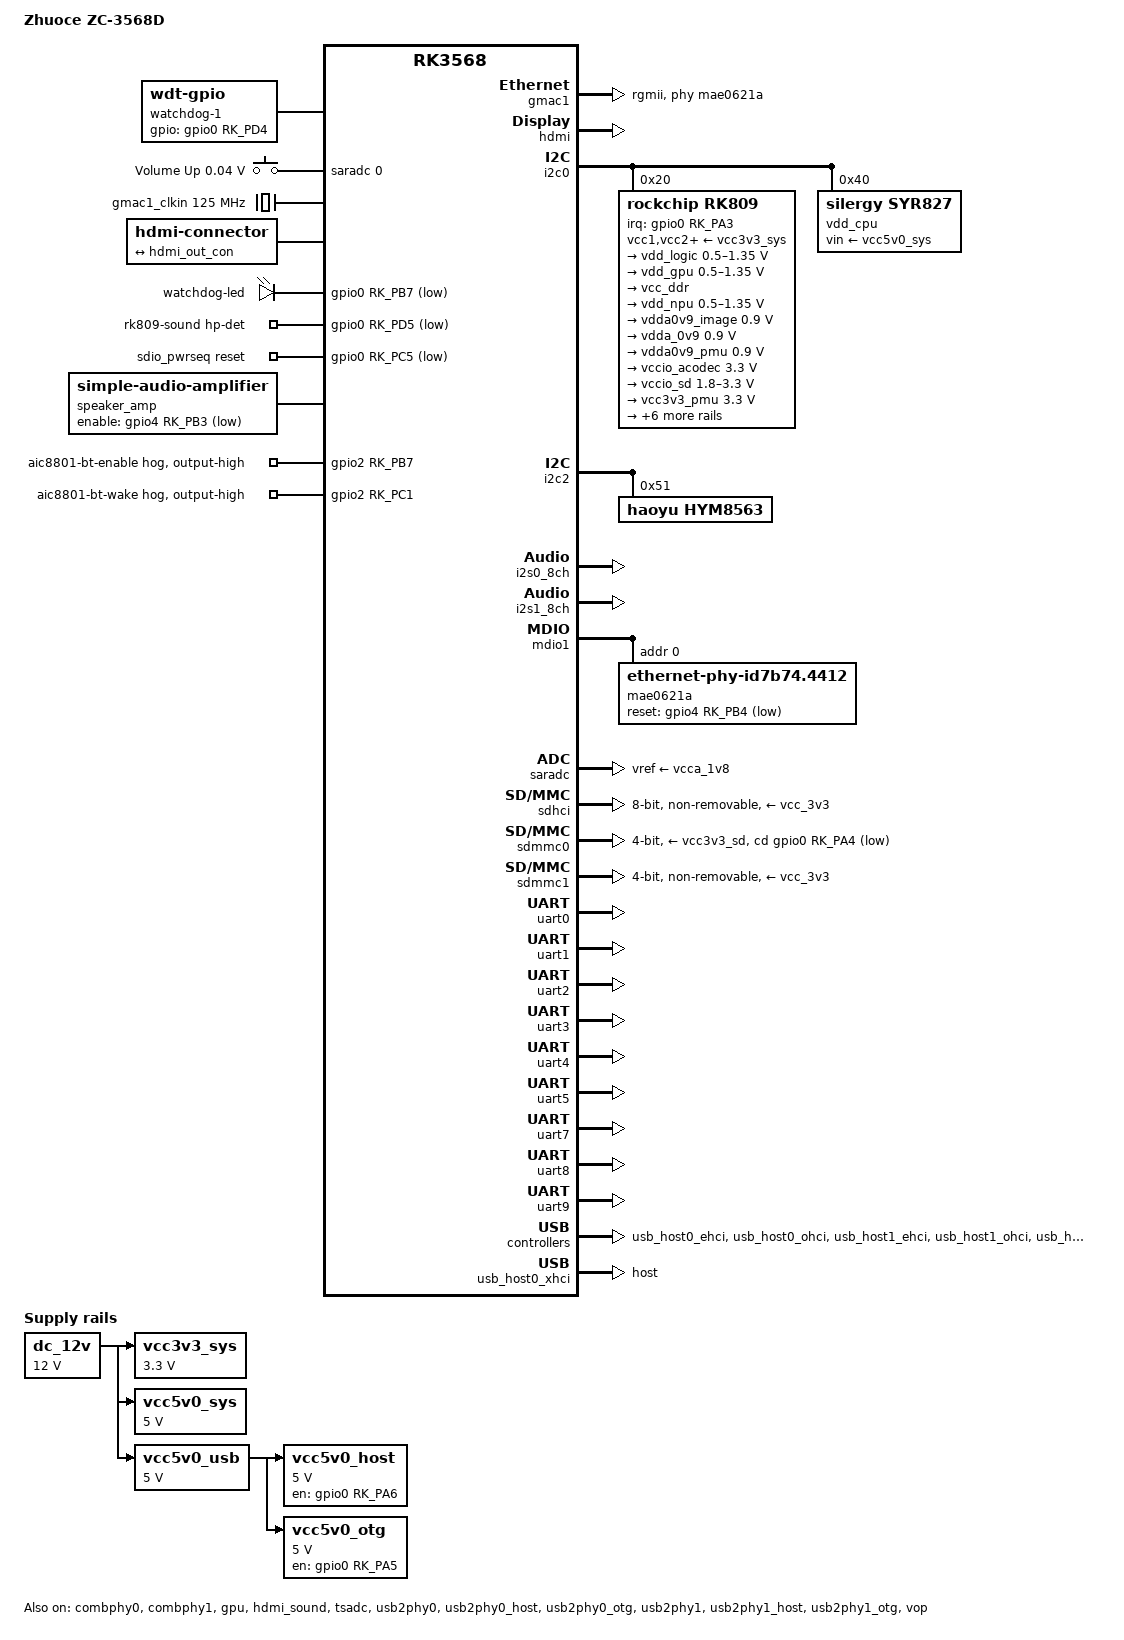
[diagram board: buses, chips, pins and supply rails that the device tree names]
// SPDX-License-Identifier: (GPL-2.0+ OR MIT)
/*
 * Copyright (c) 2022 Fuzhou Rockchip Electronics Co., Ltd.
 * Copyright (c) 2026 retro98boy <retro98boy@qq.com>
 */

/dts-v1/;

#include <dt-bindings/gpio/gpio.h>
#include <dt-bindings/input/input.h>
#include <dt-bindings/pinctrl/rockchip.h>
#include <dt-bindings/soc/rockchip,vop2.h>
#include "rk3568.dtsi"

#define WATCHDOG_DRIVER

/ {
	model = "Zhuoce ZC-3568D";
	compatible = "zhuoce,zc-3568d", "rockchip,rk3568";

#ifdef WATCHDOG_DRIVER
	/*
	 * STC8H1K08 uses GPIO0_D3 for enable and GPIO0_D4 for heartbeat edges.
	 * Missing edges with enable high reset the board after about 20 seconds.
	 * Enable low still allowed resets after about ten minutes in repeated tests.
	 * The kernel feeds continuously until a watchdog client takes over.
	 */
	watchdog-1 {
		compatible = "linux,wdt-gpio";
		gpios = <&gpio0 RK_PD4 GPIO_ACTIVE_HIGH>;
		hw_algo = "toggle";
		/* A conservative margin keeps heartbeat edges 500 ms apart. */
		hw_margin_ms = <1000>;
		always-running;
	};
#endif

	adc-keys {
		compatible = "adc-keys";
		io-channels = <&saradc 0>;
		io-channel-names = "buttons";
		keyup-threshold-microvolt = <1800000>;
		poll-interval = <50>;

		button-volume-up {
			label = "Volume Up";
			linux,code = <KEY_VOLUMEUP>;
			press-threshold-microvolt = <40000>;
		};
	};

	aliases {
		ethernet0 = &gmac1;
		mmc0 = &sdhci;
		mmc1 = &sdmmc0;
		mmc2 = &sdmmc1;
		rtc0 = &hym8563;
		rtc1 = &rk809;
	};

	chosen {
		stdout-path = "serial2:1500000n8";
	};

	gmac1_clkin: clock-125m {
		compatible = "fixed-clock";
		#clock-cells = <0>;
		clock-frequency = <125000000>;
		clock-output-names = "gmac1_clkin";
	};

	hdmi-con {
		compatible = "hdmi-connector";
		type = "a";

		port {
			hdmi_con_in: endpoint {
				remote-endpoint = <&hdmi_out_con>;
			};
		};
	};

	leds {
		compatible = "gpio-leds";

		watchdog-led {
			gpios = <&gpio0 RK_PB7 GPIO_ACTIVE_LOW>;
			linux,default-trigger = "heartbeat";
		};
	};

	rk809-sound {
		compatible = "simple-audio-card";
		pinctrl-names = "default";
		pinctrl-0 = <&hp_det>;
		simple-audio-card,name = "ZC-3568D";
		simple-audio-card,format = "i2s";
		simple-audio-card,mclk-fs = <256>;
		simple-audio-card,hp-det-gpios = <&gpio0 RK_PD5 GPIO_ACTIVE_LOW>;
		simple-audio-card,aux-devs = <&speaker_amp>;
		simple-audio-card,pin-switches = "Speaker";
		simple-audio-card,widgets =
			"Headphone", "Headphones",
			"Speaker", "Speaker",
			"Microphone", "Microphone";
		/* The headphone jack and external PA share the RK809 headphone outputs. */
		simple-audio-card,routing =
			"Headphones", "HPOL",
			"Headphones", "HPOR",
			"Speaker Amp INL", "HPOL",
			"Speaker Amp INR", "HPOR",
			"Speaker", "Speaker Amp OUTL",
			"Speaker", "Speaker Amp OUTR",
			"MICL", "Microphone",
			"MICR", "Microphone";

		simple-audio-card,cpu {
			sound-dai = <&i2s1_8ch>;
		};

		simple-audio-card,codec {
			sound-dai = <&rk809>;
		};
	};

	sdio_pwrseq: sdio-pwrseq {
		compatible = "mmc-pwrseq-simple";
		clocks = <&rk809 1>;
		clock-names = "ext_clock";
		pinctrl-names = "default";
		pinctrl-0 = <&wifi_enable_h>;

		reset-gpios = <&gpio0 RK_PC5 GPIO_ACTIVE_LOW>;
		post-power-on-delay-ms = <200>;
	};

	speaker_amp: speaker-amplifier {
		compatible = "simple-audio-amplifier";
		enable-gpios = <&gpio4 RK_PB3 GPIO_ACTIVE_LOW>;
		sound-name-prefix = "Speaker Amp";
	};

	dc_12v: regulator-dc-12v {
		compatible = "regulator-fixed";
		regulator-name = "dc_12v";
		regulator-always-on;
		regulator-boot-on;
		regulator-min-microvolt = <12000000>;
		regulator-max-microvolt = <12000000>;
	};

	vcc3v3_sys: regulator-vcc3v3-sys {
		compatible = "regulator-fixed";
		regulator-name = "vcc3v3_sys";
		regulator-always-on;
		regulator-boot-on;
		regulator-min-microvolt = <3300000>;
		regulator-max-microvolt = <3300000>;
		vin-supply = <&dc_12v>;
	};

	vcc5v0_sys: regulator-vcc5v0-sys {
		compatible = "regulator-fixed";
		regulator-name = "vcc5v0_sys";
		regulator-always-on;
		regulator-boot-on;
		regulator-min-microvolt = <5000000>;
		regulator-max-microvolt = <5000000>;
		vin-supply = <&dc_12v>;
	};

	vcc5v0_usb: regulator-vcc5v0-usb {
		compatible = "regulator-fixed";
		regulator-name = "vcc5v0_usb";
		regulator-always-on;
		regulator-boot-on;
		regulator-min-microvolt = <5000000>;
		regulator-max-microvolt = <5000000>;
		vin-supply = <&dc_12v>;
	};

	vcc5v0_host: regulator-vcc5v0-host {
		compatible = "regulator-fixed";
		regulator-name = "vcc5v0_host";
		regulator-boot-on;
		regulator-always-on;
		enable-active-high;
		gpio = <&gpio0 RK_PA6 GPIO_ACTIVE_HIGH>;
		pinctrl-names = "default";
		pinctrl-0 = <&vcc5v0_host_en>;
		regulator-min-microvolt = <5000000>;
		regulator-max-microvolt = <5000000>;
		vin-supply = <&vcc5v0_usb>;
	};

	vcc5v0_otg: regulator-vcc5v0-otg {
		compatible = "regulator-fixed";
		regulator-name = "vcc5v0_otg";
		enable-active-high;
		gpio = <&gpio0 RK_PA5 GPIO_ACTIVE_HIGH>;
		pinctrl-names = "default";
		pinctrl-0 = <&vcc5v0_otg_en>;
		regulator-min-microvolt = <5000000>;
		regulator-max-microvolt = <5000000>;
		vin-supply = <&vcc5v0_usb>;
	};
};

&combphy0 {
	/* Used for USB3 */
	phy-supply = <&vcc5v0_otg>;
	status = "okay";
};

&combphy1 {
	/* Used for USB3 */
	phy-supply = <&vcc5v0_host>;
	status = "okay";
};

&cpu0 {
	cpu-supply = <&vdd_cpu>;
};

&cpu1 {
	cpu-supply = <&vdd_cpu>;
};

&cpu2 {
	cpu-supply = <&vdd_cpu>;
};

&cpu3 {
	cpu-supply = <&vdd_cpu>;
};

&gmac1 {
	phy-mode = "rgmii";
	clock_in_out = "input";
	assigned-clocks = <&cru SCLK_GMAC1_RX_TX>, <&cru SCLK_GMAC1>;
	assigned-clock-parents = <&cru SCLK_GMAC1_RGMII_SPEED>, <&gmac1_clkin>;
	pinctrl-names = "default";
	pinctrl-0 = <&gmac1m1_miim
		&gmac1m1_tx_bus2
		&gmac1m1_rx_bus2
		&gmac1m1_rgmii_clk
		&gmac1m1_rgmii_bus
		&gmac1m1_clkinout>;
	tx_delay = <0x46>;
	rx_delay = <0x2f>;
	phy-handle = <&mae0621a>;
	status = "okay";
};

&gpio2 {
	bluetooth-enable {
		gpio-hog;
		gpios = <RK_PB7 GPIO_ACTIVE_HIGH>;
		output-high;
		line-name = "aic8801-bt-enable";
	};

	bluetooth-wake {
		gpio-hog;
		gpios = <RK_PC1 GPIO_ACTIVE_HIGH>;
		output-high;
		line-name = "aic8801-bt-wake";
	};
};

&gpu {
	mali-supply = <&vdd_gpu>;
	status = "okay";
};

&hdmi {
	avdd-0v9-supply = <&vdda0v9_image>;
	avdd-1v8-supply = <&vcca1v8_image>;
	status = "okay";
};

&hdmi_in {
	hdmi_in_vp0: endpoint {
		remote-endpoint = <&vp0_out_hdmi>;
	};
};

&hdmi_out {
	hdmi_out_con: endpoint {
		remote-endpoint = <&hdmi_con_in>;
	};
};

&hdmi_sound {
	status = "okay";
};

&i2c0 {
	status = "okay";

	rk809: pmic@20 {
		compatible = "rockchip,rk809";
		reg = <0x20>;
		interrupt-parent = <&gpio0>;
		interrupts = <RK_PA3 IRQ_TYPE_LEVEL_LOW>;
		assigned-clocks = <&cru I2S1_MCLKOUT_TX>;
		assigned-clock-parents = <&cru CLK_I2S1_8CH_TX>;
		#clock-cells = <1>;
		clock-names = "mclk";
		clocks = <&cru I2S1_MCLKOUT_TX>;
		pinctrl-names = "default";
		pinctrl-0 = <&pmic_int>, <&i2s1m0_mclk>;
		system-power-controller;
		#sound-dai-cells = <0>;
		vcc1-supply = <&vcc3v3_sys>;
		vcc2-supply = <&vcc3v3_sys>;
		vcc3-supply = <&vcc3v3_sys>;
		vcc4-supply = <&vcc3v3_sys>;
		vcc5-supply = <&vcc3v3_sys>;
		vcc6-supply = <&vcc3v3_sys>;
		vcc7-supply = <&vcc3v3_sys>;
		vcc8-supply = <&vcc3v3_sys>;
		vcc9-supply = <&vcc3v3_sys>;
		wakeup-source;

		regulators {
			vdd_logic: DCDC_REG1 {
				regulator-always-on;
				regulator-boot-on;
				regulator-min-microvolt = <500000>;
				regulator-max-microvolt = <1350000>;
				regulator-ramp-delay = <6001>;
				regulator-initial-mode = <0x2>;
				regulator-name = "vdd_logic";
				regulator-state-mem {
					regulator-off-in-suspend;
				};
			};

			vdd_gpu: DCDC_REG2 {
				regulator-always-on;
				regulator-boot-on;
				regulator-min-microvolt = <500000>;
				regulator-max-microvolt = <1350000>;
				regulator-ramp-delay = <6001>;
				regulator-initial-mode = <0x2>;
				regulator-name = "vdd_gpu";
				regulator-state-mem {
					regulator-off-in-suspend;
				};
			};

			vcc_ddr: DCDC_REG3 {
				regulator-always-on;
				regulator-boot-on;
				regulator-initial-mode = <0x2>;
				regulator-name = "vcc_ddr";
				regulator-state-mem {
					regulator-on-in-suspend;
				};
			};

			vdd_npu: DCDC_REG4 {
				regulator-always-on;
				regulator-boot-on;
				regulator-min-microvolt = <500000>;
				regulator-max-microvolt = <1350000>;
				regulator-ramp-delay = <6001>;
				regulator-initial-mode = <0x2>;
				regulator-name = "vdd_npu";
				regulator-state-mem {
					regulator-off-in-suspend;
				};
			};

			vdda0v9_image: LDO_REG1 {
				regulator-boot-on;
				regulator-always-on;
				regulator-min-microvolt = <900000>;
				regulator-max-microvolt = <900000>;
				regulator-name = "vdda0v9_image";
				regulator-state-mem {
					regulator-off-in-suspend;
				};
			};

			vdda_0v9: LDO_REG2 {
				regulator-always-on;
				regulator-boot-on;
				regulator-min-microvolt = <900000>;
				regulator-max-microvolt = <900000>;
				regulator-name = "vdda_0v9";
				regulator-state-mem {
					regulator-off-in-suspend;
				};
			};

			vdda0v9_pmu: LDO_REG3 {
				regulator-always-on;
				regulator-boot-on;
				regulator-min-microvolt = <900000>;
				regulator-max-microvolt = <900000>;
				regulator-name = "vdda0v9_pmu";
				regulator-state-mem {
					regulator-on-in-suspend;
					regulator-suspend-microvolt = <900000>;
				};
			};

			vccio_acodec: LDO_REG4 {
				regulator-always-on;
				regulator-boot-on;
				regulator-min-microvolt = <3300000>;
				regulator-max-microvolt = <3300000>;
				regulator-name = "vccio_acodec";
				regulator-state-mem {
					regulator-off-in-suspend;
				};
			};

			vccio_sd: LDO_REG5 {
				regulator-always-on;
				regulator-boot-on;
				regulator-min-microvolt = <1800000>;
				regulator-max-microvolt = <3300000>;
				regulator-name = "vccio_sd";
				regulator-state-mem {
					regulator-off-in-suspend;
				};
			};

			vcc3v3_pmu: LDO_REG6 {
				regulator-always-on;
				regulator-boot-on;
				regulator-min-microvolt = <3300000>;
				regulator-max-microvolt = <3300000>;
				regulator-name = "vcc3v3_pmu";
				regulator-state-mem {
					regulator-on-in-suspend;
					regulator-suspend-microvolt = <3300000>;
				};
			};

			vcca_1v8: LDO_REG7 {
				regulator-always-on;
				regulator-boot-on;
				regulator-min-microvolt = <1800000>;
				regulator-max-microvolt = <1800000>;
				regulator-name = "vcca_1v8";
				regulator-state-mem {
					regulator-off-in-suspend;
				};
			};

			vcca1v8_pmu: LDO_REG8 {
				regulator-always-on;
				regulator-boot-on;
				regulator-min-microvolt = <1800000>;
				regulator-max-microvolt = <1800000>;
				regulator-name = "vcca1v8_pmu";
				regulator-state-mem {
					regulator-on-in-suspend;
					regulator-suspend-microvolt = <1800000>;
				};
			};

			vcca1v8_image: LDO_REG9 {
				regulator-always-on;
				regulator-boot-on;
				regulator-min-microvolt = <1800000>;
				regulator-max-microvolt = <1800000>;
				regulator-name = "vcca1v8_image";
				regulator-state-mem {
					regulator-off-in-suspend;
				};
			};

			vcc_1v8: DCDC_REG5 {
				regulator-always-on;
				regulator-boot-on;
				regulator-min-microvolt = <1800000>;
				regulator-max-microvolt = <1800000>;
				regulator-name = "vcc_1v8";
				regulator-state-mem {
					regulator-off-in-suspend;
				};
			};

			vcc_3v3: SWITCH_REG1 {
				regulator-always-on;
				regulator-boot-on;
				regulator-name = "vcc_3v3";
				regulator-state-mem {
					regulator-off-in-suspend;
				};
			};

			vcc3v3_sd: SWITCH_REG2 {
				regulator-always-on;
				regulator-boot-on;
				regulator-name = "vcc3v3_sd";
				regulator-state-mem {
					regulator-off-in-suspend;
				};
			};
		};

		codec {
			rockchip,mic-in-differential;
		};
	};

	vdd_cpu: regulator@40 {
		compatible = "silergy,syr827";
		fcs,suspend-voltage-selector = <0x01>;

		reg = <0x40>;
		regulator-always-on;
		regulator-boot-on;
		regulator-max-microvolt = <1390000>;
		regulator-min-microvolt = <712500>;
		regulator-name = "vdd_cpu";
		regulator-ramp-delay = <2300>;
		vin-supply = <&vcc5v0_sys>;

		regulator-state-mem {
			regulator-off-in-suspend;
		};
	};
};

&i2c2 {
	status = "okay";

	hym8563: rtc@51 {
		compatible = "haoyu,hym8563";
		reg = <0x51>;
		#clock-cells = <0>;
	};
};

&i2s0_8ch {
	status = "okay";
};

&i2s1_8ch {
	rockchip,trcm-sync-tx-only;
	pinctrl-names = "default";
	pinctrl-0 = <&i2s1m0_sclktx &i2s1m0_lrcktx
		     &i2s1m0_sdi0 &i2s1m0_sdo0>;
	status = "okay";
};

&mdio1 {
	mae0621a: ethernet-phy@0 {
		compatible = "ethernet-phy-id7b74.4412", "ethernet-phy-ieee802.3-c22";
		reg = <0>;
		reset-gpios = <&gpio4 RK_PB4 GPIO_ACTIVE_LOW>;
		reset-assert-us = <20000>;
		reset-deassert-us = <100000>;
	};
};

/*
 * WATCHDOG_DRIVER drives GPIO0_D3 high and lets the kernel feed GPIO0_D4.
 * Without WATCHDOG_DRIVER, GPIO0_D3 starts low and leaves both GPIOs available to userspace.
 * Tests observed resets after about ten minutes with enable low and no heartbeat.
 * Userspace must drive GPIO0_D3 high within this approximate boot window, then toggle GPIO0_D4 every 500 ms.
 * These defaults apply during Linux pinctrl initialization, not BootROM or Maskrom.
 */
&pinctrl {
	pinctrl-names = "default";
	pinctrl-0 = <&external_watchdog_default>;

	external-watchdog {
		external_watchdog_default: external-watchdog-default {
#ifdef WATCHDOG_DRIVER
			rockchip,pins = <0 RK_PD3 RK_FUNC_GPIO &pcfg_output_high>;
#else
			rockchip,pins = <0 RK_PD3 RK_FUNC_GPIO &pcfg_output_low>;
#endif
		};
	};

	headphone {
		hp_det: hp-det {
			rockchip,pins = <0 RK_PD5 RK_FUNC_GPIO &pcfg_pull_down>;
		};
	};

	pmic {
		pmic_int: pmic-int {
			rockchip,pins = <0 RK_PA3 RK_FUNC_GPIO &pcfg_pull_up>;
		};
	};

	sdio-pwrseq {
		wifi_enable_h: wifi-enable-h {
			rockchip,pins = <0 RK_PC5 RK_FUNC_GPIO &pcfg_pull_none>;
		};
	};

	usb {
		vcc5v0_host_en: vcc5v0-host-en {
			rockchip,pins = <0 RK_PA6 RK_FUNC_GPIO &pcfg_pull_none>;
		};

		vcc5v0_otg_en: vcc5v0-otg-en {
			rockchip,pins = <0 RK_PA5 RK_FUNC_GPIO &pcfg_pull_none>;
		};
	};
};

&pmu_io_domains {
	pmuio1-supply = <&vcc3v3_pmu>;
	pmuio2-supply = <&vcc3v3_pmu>;
	vccio1-supply = <&vccio_acodec>;
	vccio3-supply = <&vccio_sd>;
	vccio4-supply = <&vcc_1v8>;
	vccio5-supply = <&vcc_3v3>;
	vccio6-supply = <&vcc_3v3>;
	vccio7-supply = <&vcc_3v3>;
	status = "okay";
};

&saradc {
	vref-supply = <&vcca_1v8>;
	status = "okay";
};

&sdhci {
	bus-width = <8>;
	mmc-hs200-1_8v;
	no-sd;
	no-sdio;
	max-frequency = <200000000>;
	non-removable;
	full-pwr-cycle-in-suspend;
	pinctrl-names = "default";
	pinctrl-0 = <&emmc_bus8 &emmc_clk &emmc_cmd &emmc_datastrobe &emmc_rstnout>;
	vmmc-supply = <&vcc_3v3>;
	vqmmc-supply = <&vcc_1v8>;
	status = "okay";
};

&sdmmc0 {
	no-mmc;
	no-sdio;
	bus-width = <4>;
	cap-sd-highspeed;
	sd-uhs-sdr104;
	disable-wp;
	cd-gpios = <&gpio0 RK_PA4 GPIO_ACTIVE_LOW>;
	pinctrl-names = "default";
	pinctrl-0 = <&sdmmc0_bus4 &sdmmc0_clk &sdmmc0_cmd>;
	vmmc-supply = <&vcc3v3_sd>;
	vqmmc-supply = <&vccio_sd>;
	status = "okay";
};

&sdmmc1 {
	no-sd;
	no-mmc;
	bus-width = <4>;
	disable-wp;
	cap-sd-highspeed;
	cap-sdio-irq;
	keep-power-in-suspend;
	mmc-pwrseq = <&sdio_pwrseq>;
	non-removable;
	pinctrl-names = "default";
	pinctrl-0 = <&sdmmc1_bus4 &sdmmc1_cmd &sdmmc1_clk>;
	vmmc-supply = <&vcc_3v3>;
	vqmmc-supply = <&vcc_3v3>;
	status = "okay";
};

&tsadc {
	status = "okay";
};

&uart0 {
	pinctrl-names = "default";
	pinctrl-0 = <&uart0_xfer>;
	status = "okay";
};

&uart1 {
	dma-names = "tx", "rx";
	pinctrl-names = "default";
	pinctrl-0 = <&uart1m0_xfer &uart1m0_ctsn &uart1m0_rtsn>;
	uart-has-rtscts;
	status = "okay";
};

/* Debug UART */
&uart2 {
	status = "okay";
};

&uart3 {
	pinctrl-names = "default";
	pinctrl-0 = <&uart3m1_xfer>;
	status = "okay";
};

&uart4 {
	pinctrl-names = "default";
	pinctrl-0 = <&uart4m0_xfer>;
	status = "okay";
};

&uart5 {
	pinctrl-names = "default";
	pinctrl-0 = <&uart5m1_xfer>;
	status = "okay";
};

&uart7 {
	pinctrl-names = "default";
	pinctrl-0 = <&uart7m1_xfer>;
	status = "okay";
};

&uart8 {
	pinctrl-names = "default";
	pinctrl-0 = <&uart8m0_xfer>;
	status = "okay";
};

&uart9 {
	pinctrl-names = "default";
	pinctrl-0 = <&uart9m1_xfer>;
	status = "okay";
};

&usb2phy0 {
	status = "okay";
};

&usb2phy0_host {
	phy-supply = <&vcc5v0_host>;
	status = "okay";
};

&usb2phy0_otg {
	phy-supply = <&vcc5v0_otg>;
	status = "okay";
};

&usb2phy1 {
	status = "okay";
};

&usb2phy1_host {
	phy-supply = <&vcc5v0_host>;
	status = "okay";
};

&usb2phy1_otg {
	phy-supply = <&vcc5v0_host>;
	status = "okay";
};

&usb_host0_ehci {
	status = "okay";
};

&usb_host0_ohci {
	status = "okay";
};

&usb_host0_xhci {
	dr_mode = "host";
	status = "okay";
};

&usb_host1_ehci {
	status = "okay";
};

&usb_host1_ohci {
	status = "okay";
};

&usb_host1_xhci {
	status = "okay";
};

&vop {
	assigned-clocks = <&cru DCLK_VOP0>, <&cru DCLK_VOP1>;
	assigned-clock-parents = <&pmucru PLL_HPLL>, <&cru PLL_VPLL>;
	status = "okay";
};

&vop_mmu {
	status = "okay";
};

&vp0 {
	vp0_out_hdmi: endpoint@ROCKCHIP_VOP2_EP_HDMI0 {
		reg = <ROCKCHIP_VOP2_EP_HDMI0>;
		remote-endpoint = <&hdmi_in_vp0>;
	};
};
